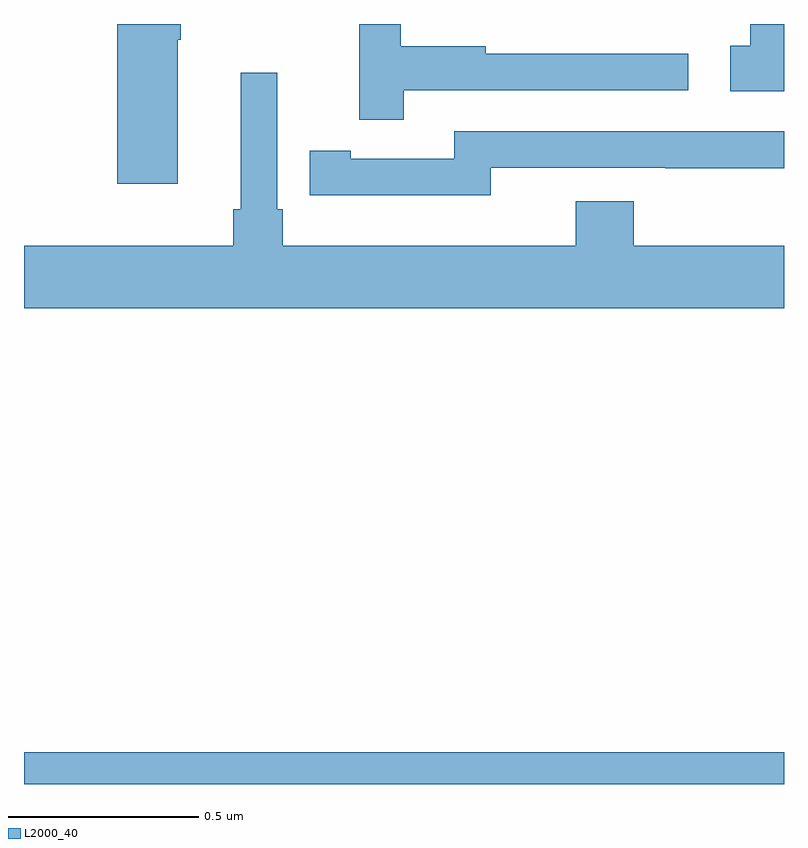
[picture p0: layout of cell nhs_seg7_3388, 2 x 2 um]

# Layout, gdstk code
import gdstk
lib = gdstk.Library(unit=1e-6, precision=1e-09)
def R(c, l, rs):  # rectangles x0, y0, x1, y1
    for r in rs: c.add(gdstk.rectangle(r[:2], r[2:], *l))
def P(c, l, *ps):  # polygons
    for p in ps: c.add(gdstk.Polygon(p, *l))
L2000_40 = (2000, 40)

nhs_seg7_3388 = lib.new_cell('nhs_seg7_3388')
R(nhs_seg7_3388, L2000_40, [(158,1030,160,1030.084)])
P(nhs_seg7_3388, L2000_40, [(158.999,1031.826),(159.748,1031.826),(159.748,1031.922),(159.215,1031.922),(159.215,1031.942),(158.992,1031.942),(158.992,1032),(158.882,1032),(158.882,1031.748),(158.999,1031.748)],
  [(158.404,1031.959),(158.412,1031.959),(158.412,1032),(158.246,1032),(158.246,1031.58),(158.404,1031.58)],
  [(160,1032),(159.911,1032),(159.911,1031.943),(159.858,1031.943),(159.858,1031.823),(160,1031.823)],
  [(160,1031.416),(159.605,1031.416),(159.605,1031.533),(159.452,1031.533),(159.452,1031.416),(158.681,1031.416),(158.681,1031.512),(158.667,1031.512),(158.667,1031.872),(158.57,1031.872),(158.57,1031.512),(158.551,1031.512),(158.551,1031.416),(158,1031.416),(158,1031.252),(160,1031.252)],
  [(159.228,1031.622),(159.688,1031.622),(159.688,1031.621),(160,1031.621),(160,1031.718),(159.132,1031.718),(159.132,1031.646),(158.86,1031.646),(158.86,1031.666),(158.752,1031.666),(158.752,1031.55),(158.86,1031.55),(158.86,1031.549),(159.228,1031.549)])

lib.write_gds('nhs_seg7_3388.gds')
